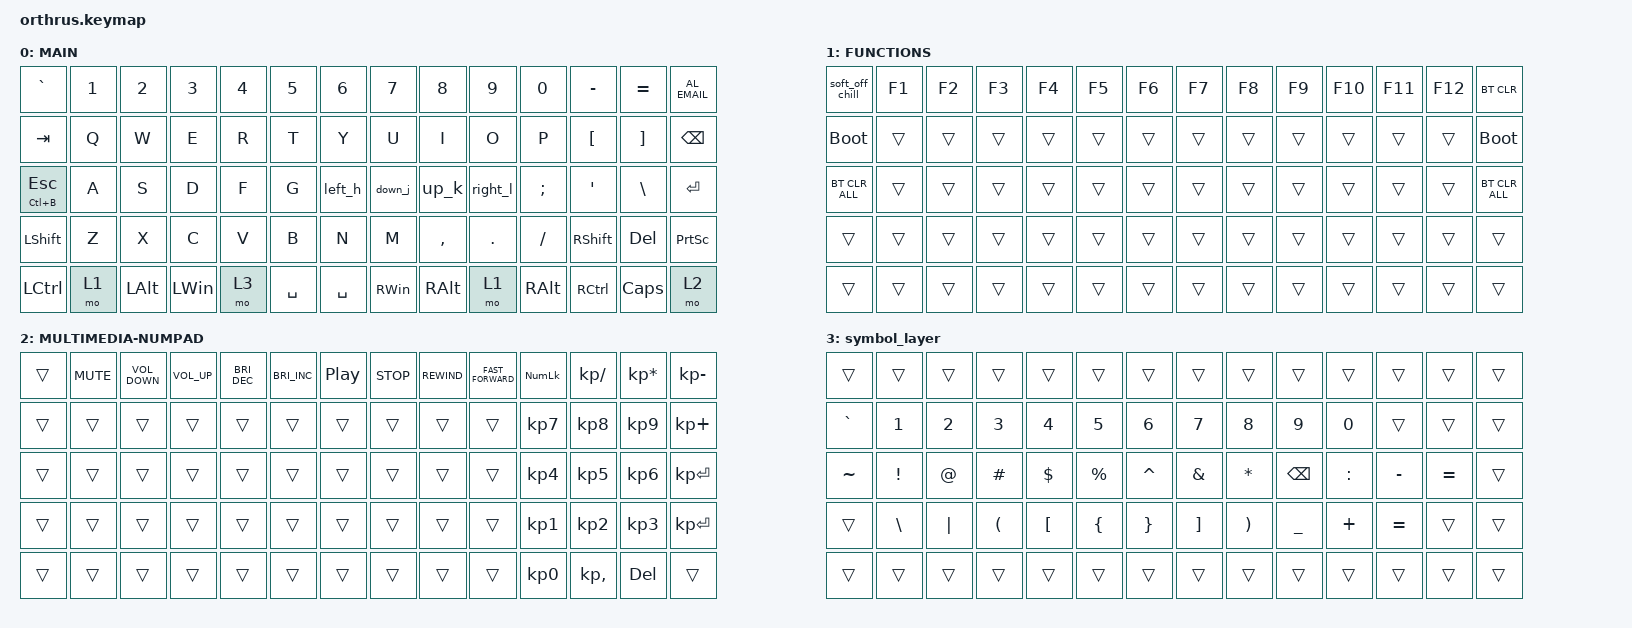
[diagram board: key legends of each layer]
#include <behaviors.dtsi>
#include <dt-bindings/zmk/bt.h>
#include <dt-bindings/zmk/keys.h>

// Edited on https://nickcoutsos.github.io/keymap-editor because you cannot convice me
// editing this on a text editor is better than the GUI, and Oh, I love Neovim trust me.

/ {
    combos {
        compatible = "zmk,combos";

        return_kl {
            bindings = <&kp RETURN>;
            key-positions = <36 37>;
            timeout-ms = <50>;
        };

        backspace_op {
            bindings = <&kp BACKSPACE>;
            key-positions = <37 38>;
            timeout-ms = <50>;
            layers = <0 1>;
        };
    };

    behaviors {
        keychord: keychord {
            compatible = "zmk,behavior-hold-tap";
            label = "KEYCHORD";
            bindings = <&kp>, <&kp>;

            #binding-cells = <2>;
            tapping-term-ms = <200>;
        };

        soft_off_chill: soft_off_chill {
            compatible = "zmk,behavior-soft-off";
            label = "SOFT_OFF_CHILL";
            #binding-cells = <0>;
            split-peripheral-off-on-press;
        };

        left_h: left_h {
            compatible = "zmk,behavior-mod-morph";
            label = "LEFT_H";
            bindings = <&kp H>, <&kp LEFT_ARROW>;

            #binding-cells = <0>;
            mods = <(MOD_RALT)>;
        };

        down_j: down_j {
            compatible = "zmk,behavior-mod-morph";
            label = "DOWN_J";
            bindings = <&kp J>, <&kp DOWN_ARROW>;

            #binding-cells = <0>;
            mods = <(MOD_RALT)>;
        };

        up_k: up_k {
            compatible = "zmk,behavior-mod-morph";
            label = "UP_K";
            bindings = <&kp K>, <&kp UP_ARROW>;

            #binding-cells = <0>;
            mods = <(MOD_RALT)>;
        };

        right_l: right_l {
            compatible = "zmk,behavior-mod-morph";
            label = "RIGHT_L";
            bindings = <&kp L>, <&kp RIGHT_ARROW>;

            #binding-cells = <0>;
            mods = <(MOD_RALT)>;
        };
    };

    keymap {
        compatible = "zmk,keymap";

        MAIN {
            bindings = <
&kp GRAVE            &kp N1  &kp N2    &kp N3    &kp N4  &kp N5       &kp N6     &kp N7         &kp N8     &kp N9      &kp N0         &kp MINUS   &kp EQUAL  &kp C_AL_EMAIL
&kp TAB              &kp Q   &kp W     &kp E     &kp R   &kp T        &kp Y      &kp U          &kp I      &kp O       &kp P          &kp LBKT    &kp RBKT   &kp BACKSPACE
&keychord LC(B) ESC  &kp A   &kp S     &kp D     &kp F   &kp G        &left_h    &down_j        &up_k      &right_l    &kp SEMI       &kp SQT     &kp BSLH   &kp ENTER
&kp LSHIFT           &kp Z   &kp X     &kp C     &kp V   &kp B        &kp N      &kp M          &kp COMMA  &kp PERIOD  &kp SLASH      &kp RSHIFT  &kp DEL    &kp PRINTSCREEN
&kp LCTRL            &mo 1   &kp LALT  &kp LWIN  &mo 3   &kp SPACE    &kp SPACE  &kp RIGHT_WIN  &kp RALT   &mo 1       &kp RIGHT_ALT  &kp RCTRL   &kp CLCK   &mo 2
            >;
        };

        FUNCTIONS {
            bindings = <
&soft_off_chill  &kp F1  &kp F2  &kp F3  &kp F4  &kp F5    &kp F6  &kp F7  &kp F8  &kp F9  &kp F10  &kp F11  &kp F12  &bt BT_CLR
&bootloader      &trans  &trans  &trans  &trans  &trans    &trans  &trans  &trans  &trans  &trans   &trans   &trans   &bootloader
&bt BT_CLR_ALL   &trans  &trans  &trans  &trans  &trans    &trans  &trans  &trans  &trans  &trans   &trans   &trans   &bt BT_CLR_ALL
&trans           &trans  &trans  &trans  &trans  &trans    &trans  &trans  &trans  &trans  &trans   &trans   &trans   &trans
&trans           &trans  &trans  &trans  &trans  &trans    &trans  &trans  &trans  &trans  &trans   &trans   &trans   &trans
            >;
        };

        MULTIMEDIA-NUMPAD {
            bindings = <
&trans  &kp C_MUTE  &kp C_VOLUME_DOWN  &kp C_VOLUME_UP  &kp C_BRI_DEC  &kp C_BRIGHTNESS_INC    &kp C_PLAY_PAUSE  &kp C_STOP  &kp C_REWIND  &kp C_FAST_FORWARD  &kp KP_NUMLOCK  &kp KP_DIVIDE  &kp KP_MULTIPLY  &kp KP_MINUS
&trans  &trans      &trans             &trans           &trans         &trans                  &trans            &trans      &trans        &trans              &kp KP_N7       &kp KP_N8      &kp KP_N9        &kp KP_PLUS
&trans  &trans      &trans             &trans           &trans         &trans                  &trans            &trans      &trans        &trans              &kp KP_N4       &kp KP_N5      &kp KP_N6        &kp KP_ENTER
&trans  &trans      &trans             &trans           &trans         &trans                  &trans            &trans      &trans        &trans              &kp KP_N1       &kp KP_N2      &kp KP_N3        &kp KP_ENTER
&trans  &trans      &trans             &trans           &trans         &trans                  &trans            &trans      &trans        &trans              &kp KP_N0       &kp KP_COMMA   &kp DEL          &trans
            >;
        };

        symbol_layer {
            bindings = <
&trans     &trans           &trans    &trans                &trans            &trans            &trans           &trans             &trans                 &trans         &trans     &trans     &trans     &trans
&kp GRAVE  &kp N1           &kp N2    &kp N3                &kp N4            &kp N5            &kp N6           &kp N7             &kp N8                 &kp N9         &kp N0     &trans     &trans     &trans
&kp TILDE  &kp EXCLAMATION  &kp AT    &kp HASH              &kp DOLLAR        &kp PERCENT       &kp CARET        &kp AMPS           &kp ASTRK              &kp BACKSPACE  &kp COLON  &kp MINUS  &kp EQUAL  &trans
&trans     &kp BACKSLASH    &kp PIPE  &kp LEFT_PARENTHESIS  &kp LEFT_BRACKET  &kp LEFT_BRACE    &kp RIGHT_BRACE  &kp RIGHT_BRACKET  &kp RIGHT_PARENTHESIS  &kp UNDER      &kp PLUS   &kp EQUAL  &trans     &trans
&trans     &trans           &trans    &trans                &trans            &trans            &trans           &trans             &trans                 &trans         &trans     &trans     &trans     &trans
            >;
        };
    };
};
